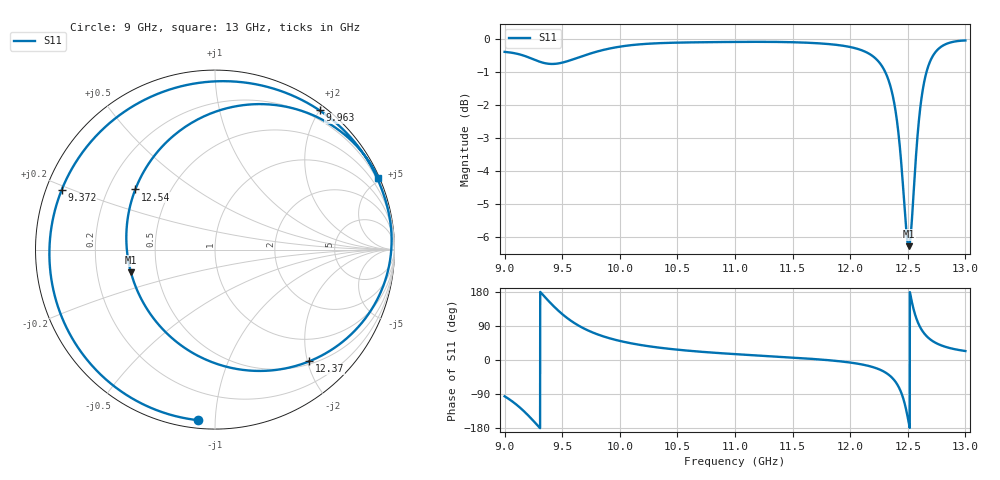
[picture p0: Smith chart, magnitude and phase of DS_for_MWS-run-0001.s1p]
! TOUCHSTONE file generated by CST DESIGN STUDIO
! Date and time: Tue Feb  4 14:28:57 2025
! Project name: C:\Work\MatlabApps\UnitCellOptimizationMatlab\CST\unitcell.cst
! Tree item: Tasks\Sweep1\SPara1\S-Parameters
! Header version: 2024
! Port assignment regex: !\s*Touchstone port\s*([0-9]+)\s*=\s*(CST MWS port|CST DES external port|CST DES block port)\s*(.+)\s* \(\"(.*)\"\)(\s*mode\s*([0-9]+))?.*
! Touchstone port assignment:
! Touchstone port 1 = CST DES external port 1 ("")
# GHz S MA R 50
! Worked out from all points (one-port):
!   4001 points, 9 GHz to 13 GHz, reference 50 ohm
!   lowest |S11| = -6.3 dB at 12.51 GHz (marker M1), VSWR 2.89, Z = 17.6 - j5.85 ohm
!   |S11| at or under -10 dB: nowhere
!   S11 on the Smith chart (normalised r, x): 9 GHz: 0.04, -0.90; 9.372 GHz: 0.04, +0.19; 9.963 GHz: 0.08, +2.00; 12.37 GHz: 0.55, -2.03; 12.54 GHz: 0.31, +0.31; 13 GHz: 0.07, +4.77
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9  0.9551 -95.8
9.088  0.9505 -114.2
9.167  0.9426 -134.9
9.274  0.9271 -168.5
9.372  0.9167 158.8
9.5  0.9199 121.2
9.598  0.931 99.0
9.723  0.9471 78.1
9.963  0.9702 53.1
10  0.9726 50.3
10.5  0.9864 27.2
11  0.9888 15.5
11.5  0.9878 6.3
12  0.9714 -6.7
12.245  0.9239 -23.8
12.317  0.8802 -35.1
12.373  0.8144 -49.8
12.446  0.6394 -88.4
12.473  0.5506 -115.0
12.5  0.4895 -152.2
12.508  0.4853 -164.8
12.543  0.5564 142.9
12.575  0.6788 109.2
12.608  0.7855 86.2
12.659  0.886 64.3
12.715  0.9402 50.0
12.826  0.9806 34.8
13  0.9939 23.7
